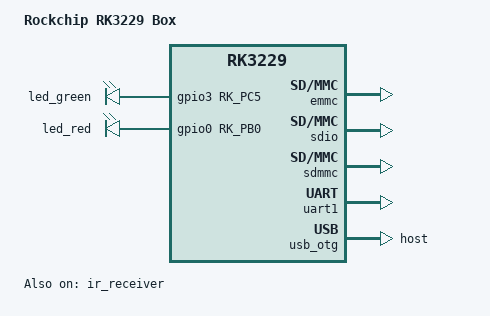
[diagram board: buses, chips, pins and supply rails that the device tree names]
// SPDX-License-Identifier: (GPL-2.0+ OR MIT)

/dts-v1/;
#include "rk3229-box.dtsi"

/ {
	model = "Rockchip RK3229 Box";

	leds {
		compatible = "gpio-leds";

		led_green {
			gpios = <&gpio3 RK_PC5 GPIO_ACTIVE_HIGH>;
			default-state = "on";
		};

		led_red {
			gpios = <&gpio0 RK_PB0 GPIO_ACTIVE_HIGH>;
			default-state = "off";
		};
	};
};

&emmc {
	status = "okay";
};

&ir_receiver {
	status = "okay";
};

&power_key {
	status = "okay";
};

&sdio {
	status = "okay";
};

&sdmmc {
	status = "okay";
};

&uart1 {
	status = "okay";
};

&usb_otg {
	dr_mode = "host";
};
